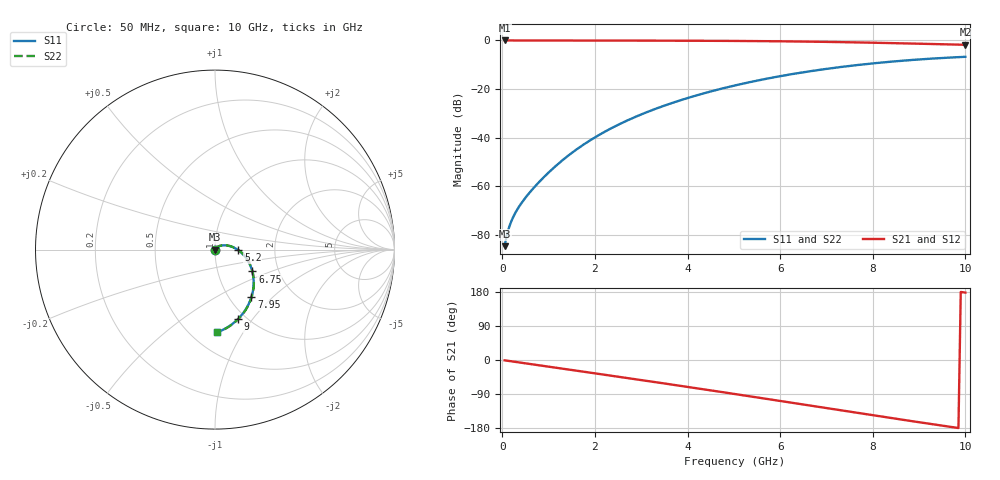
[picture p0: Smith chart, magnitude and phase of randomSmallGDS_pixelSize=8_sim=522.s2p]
! freq	dB(S11)	phase(S11)	dB(S12)	phase(S12)
!  dB(S21)	phase(S21)	dB(S22)	phase(S22)
!S-par simulation data
#  GHz  S  DB  R 50
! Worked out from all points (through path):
!   200 points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, 50 MHz to 10 GHz, reference 50 ohm
!   highest |S21| = 0.00 dB at 50 MHz (marker M1); lowest = -1.8 dB at 10 GHz (marker M2)
!   group delay of S21, straight-line fit = 51 ps
!   lowest |S11| = -84.5 dB at 50 MHz (marker M3), VSWR 1.00, Z = 50 + j0.00465 ohm
!   |S11| at or under -10 dB: start of sweep to 7.718 GHz
!   |S22| runs from -84.6 to -6.7 dB; largest |S21 - S12| = 0
!   S11 on the Smith chart (normalised r, x): 50 MHz: 1.00, +0.00; 5.2 GHz: 1.30, -0.01; 6.75 GHz: 1.47, -0.38; 7.95 GHz: 1.26, -0.75; 9 GHz: 0.92, -0.85; 10 GHz: 0.66, -0.77
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0.05  -84.55 51.7  -0.00 -0.9  -0.00 -0.9  -84.55 51.8
0.1  -79.89 67.6  -0.00 -1.8  -0.00 -1.8  -79.89 67.8
0.15  -76.58 73.6  -0.00 -2.7  -0.00 -2.7  -76.59 73.9
0.2  -74.06 76.6  -0.00 -3.5  -0.00 -3.5  -74.07 77.0
0.35  -68.65 79.5  -0.01 -6.2  -0.01 -6.2  -68.65 80.1
0.65  -61.19 79.1  -0.01 -11.5  -0.01 -11.5  -61.17 80.0
1.15  -51.67 73.7  -0.02 -20.2  -0.02 -20.2  -51.64 74.5
1.75  -42.86 63.4  -0.04 -30.8  -0.04 -30.8  -42.84 64.1
2.1  -38.72 56.8  -0.04 -37.0  -0.04 -37.0  -38.71 57.4
2.5  -34.68 49.2  -0.05 -44.0  -0.05 -44.0  -34.67 49.7
3.4  -27.46 32.1  -0.08 -60.1  -0.08 -60.1  -27.45 32.6
4.25  -22.27 16.3  -0.12 -75.5  -0.12 -75.5  -22.27 16.7
5.05  -18.37 1.4  -0.20 -90.3  -0.20 -90.3  -18.37 1.8
5.2  -17.73 -1.4  -0.22 -93.1  -0.22 -93.1  -17.72 -1.0
5.95  -14.85 -15.4  -0.33 -107.1  -0.33 -107.1  -14.85 -15.1
6.7  -12.50 -29.5  -0.50 -121.3  -0.50 -121.3  -12.49 -29.2
6.75  -12.36 -30.4  -0.52 -122.2  -0.52 -122.2  -12.35 -30.1
7.35  -10.82 -41.6  -0.69 -133.5  -0.69 -133.5  -10.81 -41.3
7.95  -9.53 -52.6  -0.90 -144.8  -0.90 -144.8  -9.52 -52.3
8.35  -8.80 -59.9  -1.06 -152.3  -1.06 -152.3  -8.79 -59.6
9  -7.81 -71.5  -1.34 -164.2  -1.34 -164.2  -7.80 -71.2
10  -6.72 -88.7  -1.78 177.8  -1.78 177.8  -6.72 -88.4
